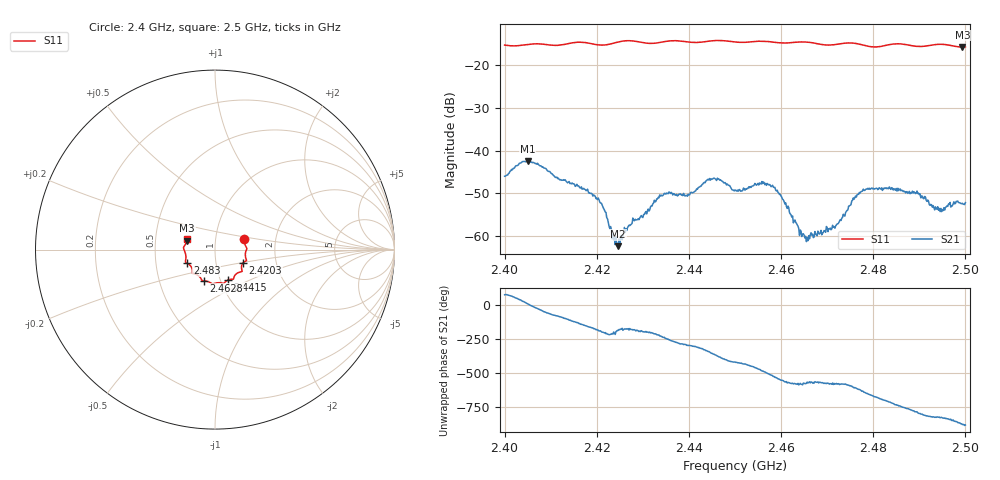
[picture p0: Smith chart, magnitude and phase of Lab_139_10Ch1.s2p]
# Hz S RI R 50
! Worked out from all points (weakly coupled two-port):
!   601 points, 2.4 GHz to 2.5 GHz, reference 50 ohm
!   highest |S21| = -42.43 dB at 2.405 GHz (marker M1); lowest = -62.4 dB at 2.4247 GHz (marker M2)
!   lowest |S11| = -15.7 dB at 2.4993 GHz (marker M3), VSWR 1.39, Z = 36.4 + j3.68 ohm
!   |S11| at or under -10 dB: start of sweep to end of sweep
!   S12 and S22 are empty: the file has one direction only
!   S11 on the Smith chart (normalised r, x): 2.4 GHz: 1.38, +0.16; 2.4203 GHz: 1.35, -0.21; 2.4415 GHz: 1.09, -0.38; 2.4628 GHz: 0.83, -0.30; 2.483 GHz: 0.73, -0.11; 2.5 GHz: 0.73, +0.09
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2.4e9  0.1623 0.0568  0.00155 0.00477  0 0  0 0
2.405e9  0.1743 0.0131  0.00752 0.000773  0 0  0 0
2.416667e9  0.1751 -0.062  -0.00307 -0.00219  0 0  0 0
2.420333e9  0.156 -0.0745  -0.00276 0.000397  0 0  0 0
2.423833e9  0.1481 -0.1062  -0.000867 0.000507  0 0  0 0
2.424667e9  0.1496 -0.1123  -0.00075 0.000134  0 0  0 0
2.433333e9  0.108 -0.148  -0.00207 0.00195  0 0  0 0
2.4415e9  0.0735 -0.1691  0.00218 0.00261  0 0  0 0
2.445333e9  0.0506 -0.1868  0.00475 -0.000352  0 0  0 0
2.45e9  0.0297 -0.1845  0.00162 -0.00306  0 0  0 0
2.458e9  -0.0238 -0.1855  -0.00361 -0.00137  0 0  0 0
2.462833e9  -0.0621 -0.1742  -0.00115 0.000971  0 0  0 0
2.465e9  -0.0714 -0.1729  -0.000788 0.000655  0 0  0 0
2.466667e9  -0.0751 -0.1675  -0.000896 0.000495  0 0  0 0
2.472e9  -0.1104 -0.1358  -0.00105 0.000852  0 0  0 0
2.4775e9  -0.1253 -0.1203  0.00038 0.00332  0 0  0 0
2.483e9  -0.1539 -0.0766  0.0036 0.00068  0 0  0 0
2.483333e9  -0.1561 -0.0753  0.00358 0.00032  0 0  0 0
2.489667e9  -0.1623 -0.0339  0.000818 -0.00304  0 0  0 0
2.494667e9  -0.1755 0.0107  -0.000689 -0.00199  0 0  0 0
2.499333e9  -0.1555 0.0492  -0.00229 -0.000797  0 0  0 0
2.5e9  -0.1534 0.0577  -0.00237 -0.000672  0 0  0 0
